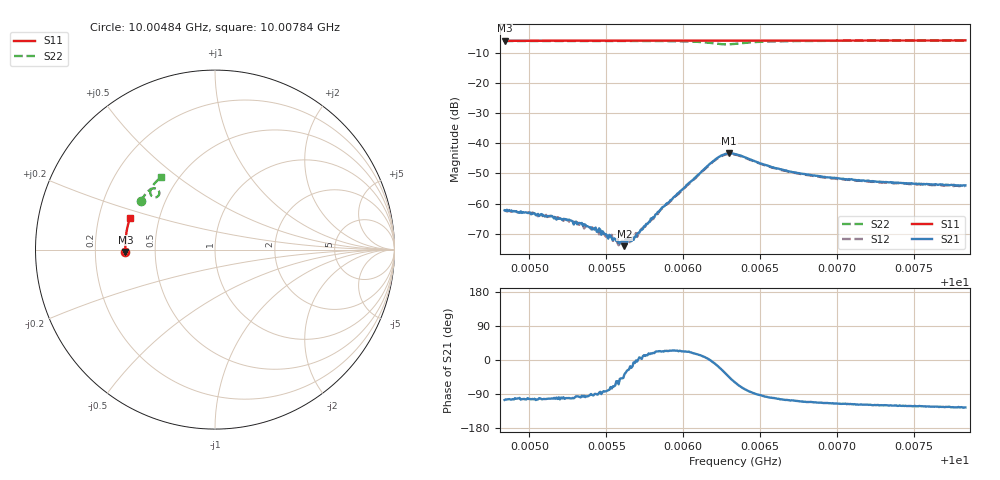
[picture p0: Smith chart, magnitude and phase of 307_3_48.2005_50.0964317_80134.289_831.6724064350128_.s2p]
#  HZ  S  RI  R  50.00
! Rohde & Schwarz Vector Network Analyzer
! Rohde-Schwarz,ZNB20-2Port,1311601062101988,3.16
! Created: UTC 3/20/2024, 11:49:50 AM
! freq[Hz]  re:S11  im:S11  re:S21  im:S21  re:S12  im:S12  re:S22  im:S22
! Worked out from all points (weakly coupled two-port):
!   401 points, 10.00484 GHz to 10.00784 GHz, reference 50 ohm
!   highest |S21| = -43.36 dB at 10.0063 GHz (marker M1); lowest = -74.1 dB at 10.00562 GHz (marker M2)
!   lowest |S11| = -6.0 dB at 10.00484 GHz (marker M3), VSWR 2.99, Z = 16.7 - j0.56 ohm
!   |S11| at or under -10 dB: nowhere
!   |S22| runs from -7.2 to -6.0 dB; largest |S21 - S12| = 0.0004
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1.0004838e10  -0.4991 -0.0126  -0.000206 -0.000744  -0.000106 -0.000747  -0.4147 0.2684
1.0005011e10  -0.4996 -0.00133  -0.000159 -0.000648  -9.57e-05 -0.000657  -0.4086 0.2785
1.000519e10  -0.4999 0.0103  -8.3e-05 -0.000552  -0.000109 -0.000566  -0.4017 0.2893
1.000534e10  -0.5 0.0201  -3.49e-05 -0.000476  -4.15e-05 -0.000422  -0.3955 0.2983
1.00054e10  -0.4998 0.024  1.49e-06 -0.000399  1.8e-05 -0.000375  -0.393 0.302
1.0005445e10  -0.4997 0.0268  -5.84e-06 -0.000342  2.2e-05 -0.000359  -0.391 0.3045
1.000552e10  -0.4996 0.0317  5.96e-05 -0.000297  8.49e-05 -0.000284  -0.3874 0.3091
1.0005558e10  -0.4995 0.034  0.000101 -0.000238  0.000118 -0.000211  -0.3854 0.3115
1.0005588e10  -0.4996 0.0361  0.000142 -0.000168  0.000148 -0.000159  -0.3839 0.3133
1.0005618e10  -0.4994 0.038  0.000155 -0.00012  0.000198 -0.000132  -0.3825 0.3152
1.0005655e10  -0.4993 0.0404  0.000239 -7.05e-05  0.000228 -7.61e-05  -0.3804 0.3176
1.0005678e10  -0.4992 0.0418  0.000249 -2.67e-05  0.000267 -4.55e-05  -0.379 0.3189
1.0005715e10  -0.4991 0.0443  0.000326 4.06e-05  0.000327 7.19e-06  -0.3768 0.3215
1.0005842e10  -0.4986 0.0525  0.000677 0.000291  0.000654 0.000323  -0.3679 0.3296
1.0006187e10  -0.496 0.0748  0.00484 -0.000342  0.00474 -0.000112  -0.3158 0.3313
1.0006247e10  -0.4955 0.0784  0.00568 -0.00256  0.00566 -0.00221  -0.3104 0.311
1.0006299e10  -0.495 0.0815  0.00477 -0.00484  0.00491 -0.00446  -0.322 0.2944
1.0006337e10  -0.4947 0.0837  0.00339 -0.00567  0.00358 -0.00541  -0.3354 0.2909
1.0006592e10  -0.4927 0.1001  -0.000703 -0.00385  -0.00058 -0.00382  -0.3598 0.3296
1.0006839e10  -0.4899 0.1159  -0.00106 -0.00274  -0.000949 -0.00273  -0.3491 0.3523
1.0007341e10  -0.4824 0.1475  -0.00113 -0.00193  -0.00101 -0.00197  -0.3242 0.3819
1.0007836e10  -0.473 0.1779  -0.00115 -0.00163  -0.00104 -0.00163  -0.2989 0.4049
